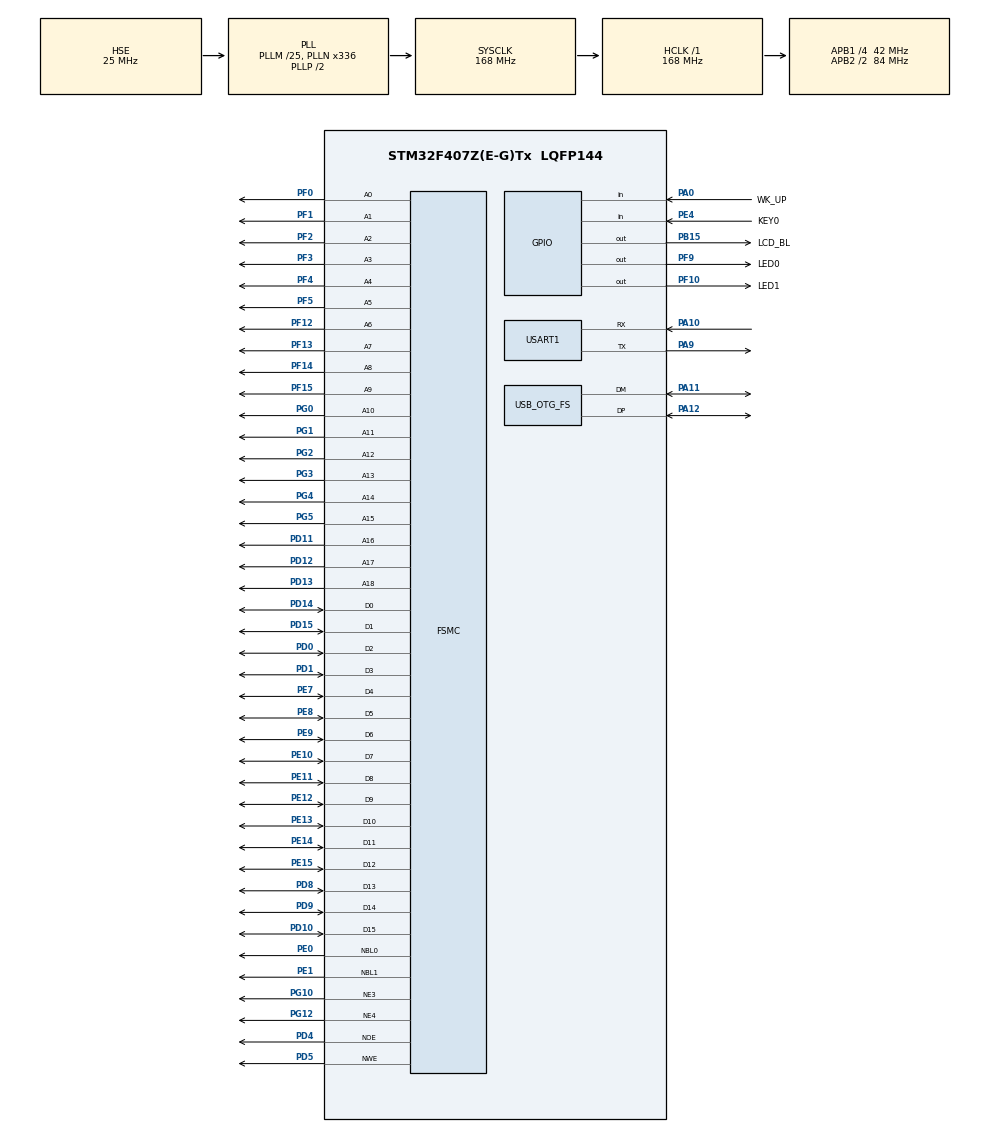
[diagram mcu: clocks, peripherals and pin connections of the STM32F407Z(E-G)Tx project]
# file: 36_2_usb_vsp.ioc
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FSMC.AddressSetupTime1=15
FSMC.AddressSetupTime2=0x02
FSMC.BusTurnAroundDuration1=0
FSMC.DataSetupTime1=60
FSMC.DataSetupTime2=0x08
FSMC.ExtendedAddressSetupTime1=9
FSMC.ExtendedBusTurnAroundDuration1=0
FSMC.ExtendedDataSetupTime1=9
FSMC.ExtendedMode1=FSMC_EXTENDED_MODE_ENABLE
FSMC.WriteOperation2=FSMC_WRITE_OPERATION_ENABLE
Mcu.Family=STM32F4
Mcu.Name=STM32F407Z(E-G)Tx
Mcu.Package=LQFP144
NVIC.OTG_FS_IRQn=true\:2\:1\:true\:false\:true\:false\:true\:true
NVIC.PriorityGroup=NVIC_PRIORITYGROUP_2
NVIC.USART1_IRQn=true\:2\:2\:true\:false\:true\:true\:true\:true
PA0-WKUP.GPIO_Label=WK_UP
PA0-WKUP.GPIO_PuPd=GPIO_PULLDOWN
PA0-WKUP.Signal=GPIO_Input
PA10.GPIO_PuPd=GPIO_PULLUP
PA10.Mode=Asynchronous
PA10.Signal=USART1_RX
PA11.Mode=Device_Only
PA11.Signal=USB_OTG_FS_DM
PA12.Mode=Device_Only
PA12.Signal=USB_OTG_FS_DP
PA13.Mode=Serial_Wire
PA13.Signal=SYS_JTMS-SWDIO
PA14.Mode=Serial_Wire
PA14.Signal=SYS_JTCK-SWCLK
PA9.GPIO_PuPd=GPIO_PULLUP
PA9.Mode=Asynchronous
PA9.Signal=USART1_TX
PB15.GPIO_Label=LCD_BL
PB15.GPIO_PuPd=GPIO_PULLUP
PB15.GPIO_Speed=GPIO_SPEED_FREQ_VERY_HIGH
PB15.PinState=GPIO_PIN_SET
PB15.Signal=GPIO_Output
PC14-OSC32_IN.Mode=LSE-External-Oscillator
PC14-OSC32_IN.Signal=RCC_OSC32_IN
PC15-OSC32_OUT.Mode=LSE-External-Oscillator
PC15-OSC32_OUT.Signal=RCC_OSC32_OUT
PD0.Signal=FSMC_D2_DA2
PD1.Signal=FSMC_D3_DA3
PD10.Signal=FSMC_D15_DA15
PD11.Signal=FSMC_A16_CLE
PD12.Signal=FSMC_A17_ALE
PD13.Signal=FSMC_A18
PD14.Signal=FSMC_D0_DA0
PD15.Signal=FSMC_D1_DA1
PD4.Signal=FSMC_NOE
PD5.Signal=FSMC_NWE
PD8.Signal=FSMC_D13_DA13
PD9.Signal=FSMC_D14_DA14
PE0.Signal=FSMC_NBL0
PE1.Signal=FSMC_NBL1
PE10.Signal=FSMC_D7_DA7
PE11.Signal=FSMC_D8_DA8
PE12.Signal=FSMC_D9_DA9
PE13.Signal=FSMC_D10_DA10
PE14.Signal=FSMC_D11_DA11
PE15.Signal=FSMC_D12_DA12
PE4.GPIO_Label=KEY0
PE4.GPIO_PuPd=GPIO_PULLDOWN
PE4.Signal=GPIO_Input
PE7.Signal=FSMC_D4_DA4
PE8.Signal=FSMC_D5_DA5
PE9.Signal=FSMC_D6_DA6
PF0.Signal=FSMC_A0
PF1.Signal=FSMC_A1
PF10.GPIO_Label=LED1
PF10.GPIO_PuPd=GPIO_PULLDOWN
PF10.GPIO_Speed=GPIO_SPEED_FREQ_VERY_HIGH
PF10.PinState=GPIO_PIN_SET
PF10.Signal=GPIO_Output
PF12.Signal=FSMC_A6
PF13.Signal=FSMC_A7
PF14.Signal=FSMC_A8
PF15.Signal=FSMC_A9
PF2.Signal=FSMC_A2
PF3.Signal=FSMC_A3
PF4.Signal=FSMC_A4
PF5.Signal=FSMC_A5
PF9.GPIO_Label=LED0
PF9.GPIO_PuPd=GPIO_PULLDOWN
PF9.GPIO_Speed=GPIO_SPEED_FREQ_VERY_HIGH
PF9.PinState=GPIO_PIN_SET
PF9.Signal=GPIO_Output
PG0.Signal=FSMC_A10
PG1.Signal=FSMC_A11
PG10.Mode=NorPsramChipSelect3_2
PG10.Signal=FSMC_NE3
PG12.Mode=NorPsramChipSelect4_1
PG12.Signal=FSMC_NE4
PG2.Signal=FSMC_A12
PG3.Signal=FSMC_A13
PG4.Signal=FSMC_A14
PG5.Signal=FSMC_A15
PH0-OSC_IN.Mode=HSE-External-Oscillator
PH0-OSC_IN.Signal=RCC_OSC_IN
PH1-OSC_OUT.Mode=HSE-External-Oscillator
PH1-OSC_OUT.Signal=RCC_OSC_OUT
ProjectManager.HeapSize=0x200
ProjectManager.StackSize=0x400
ProjectManager.TargetToolchain=STM32CubeIDE
RCC.48MHZClocksFreq_Value=48000000
RCC.AHBFreq_Value=168000000
RCC.APB1CLKDivider=RCC_HCLK_DIV4
RCC.APB1Freq_Value=42000000
RCC.APB1TimFreq_Value=84000000
RCC.APB2CLKDivider=RCC_HCLK_DIV2
RCC.APB2Freq_Value=84000000
RCC.APB2TimFreq_Value=168000000
RCC.CortexFreq_Value=168000000
RCC.HCLKFreq_Value=168000000
RCC.HSE_VALUE=25000000
RCC.HSI_VALUE=16000000
RCC.PLLM=25
RCC.PLLN=336
RCC.PLLQ=7
RCC.SYSCLKFreq_VALUE=168000000
RCC.SYSCLKSource=RCC_SYSCLKSOURCE_PLLCLK
RCC.VCOOutputFreq_Value=336000000
SH.FSMC_A0.0=FSMC_A0,19b-a2
SH.FSMC_A1.0=FSMC_A1,19b-a2
SH.FSMC_A10.0=FSMC_A10,19b-a2
SH.FSMC_A11.0=FSMC_A11,19b-a2
SH.FSMC_A12.0=FSMC_A12,19b-a2
SH.FSMC_A13.0=FSMC_A13,19b-a2
SH.FSMC_A14.0=FSMC_A14,19b-a2
SH.FSMC_A15.0=FSMC_A15,19b-a2
SH.FSMC_A16_CLE.0=FSMC_A16,19b-a2
SH.FSMC_A17_ALE.0=FSMC_A17,19b-a2
SH.FSMC_A18.0=FSMC_A18,19b-a2
SH.FSMC_A2.0=FSMC_A2,19b-a2
SH.FSMC_A3.0=FSMC_A3,19b-a2
SH.FSMC_A4.0=FSMC_A4,19b-a2
SH.FSMC_A5.0=FSMC_A5,19b-a2
SH.FSMC_A6.0=FSMC_A6,A6_1
SH.FSMC_A6.1=FSMC_A6,19b-a2
SH.FSMC_A7.0=FSMC_A7,19b-a2
SH.FSMC_A8.0=FSMC_A8,19b-a2
SH.FSMC_A9.0=FSMC_A9,19b-a2
SH.FSMC_D0_DA0.0=FSMC_D0,16b-d1
SH.FSMC_D0_DA0.1=FSMC_D0,16b-d2
SH.FSMC_D10_DA10.0=FSMC_D10,16b-d1
SH.FSMC_D10_DA10.1=FSMC_D10,16b-d2
SH.FSMC_D11_DA11.0=FSMC_D11,16b-d1
SH.FSMC_D11_DA11.1=FSMC_D11,16b-d2
SH.FSMC_D12_DA12.0=FSMC_D12,16b-d1
SH.FSMC_D12_DA12.1=FSMC_D12,16b-d2
SH.FSMC_D13_DA13.0=FSMC_D13,16b-d1
SH.FSMC_D13_DA13.1=FSMC_D13,16b-d2
SH.FSMC_D14_DA14.0=FSMC_D14,16b-d1
SH.FSMC_D14_DA14.1=FSMC_D14,16b-d2
SH.FSMC_D15_DA15.0=FSMC_D15,16b-d1
SH.FSMC_D15_DA15.1=FSMC_D15,16b-d2
SH.FSMC_D1_DA1.0=FSMC_D1,16b-d1
SH.FSMC_D1_DA1.1=FSMC_D1,16b-d2
SH.FSMC_D2_DA2.0=FSMC_D2,16b-d1
SH.FSMC_D2_DA2.1=FSMC_D2,16b-d2
SH.FSMC_D3_DA3.0=FSMC_D3,16b-d1
SH.FSMC_D3_DA3.1=FSMC_D3,16b-d2
SH.FSMC_D4_DA4.0=FSMC_D4,16b-d1
SH.FSMC_D4_DA4.1=FSMC_D4,16b-d2
SH.FSMC_D5_DA5.0=FSMC_D5,16b-d1
SH.FSMC_D5_DA5.1=FSMC_D5,16b-d2
SH.FSMC_D6_DA6.0=FSMC_D6,16b-d1
SH.FSMC_D6_DA6.1=FSMC_D6,16b-d2
SH.FSMC_D7_DA7.0=FSMC_D7,16b-d1
SH.FSMC_D7_DA7.1=FSMC_D7,16b-d2
SH.FSMC_D8_DA8.0=FSMC_D8,16b-d1
SH.FSMC_D8_DA8.1=FSMC_D8,16b-d2
SH.FSMC_D9_DA9.0=FSMC_D9,16b-d1
SH.FSMC_D9_DA9.1=FSMC_D9,16b-d2
SH.FSMC_NBL0.0=FSMC_NBL0,2ByteEnable2
SH.FSMC_NBL1.0=FSMC_NBL1,2ByteEnable2
SH.FSMC_NOE.0=FSMC_NOE,Lcd1
SH.FSMC_NOE.1=FSMC_NOE,Sram2
SH.FSMC_NWE.0=FSMC_NWE,Lcd1
SH.FSMC_NWE.1=FSMC_NWE,Sram2
USART1.VirtualMode=VM_ASYNC
USB_DEVICE.CLASS_NAME_FS=CDC
USB_DEVICE.VirtualMode-CDC_FS=Cdc
USB_DEVICE.VirtualModeFS=Cdc_FS
USB_OTG_FS.VirtualMode=Device_Only
VP_USB_DEVICE_VS_USB_DEVICE_CDC_FS.Mode=CDC_FS
board=custom

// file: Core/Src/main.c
/* USER CODE BEGIN Header */
/**
 ****************************************************************************************************
 * @file        main.c
 * @author      ALIENTEK
 * @brief       USB Virtual Serial Port code
 * @license     Copyright (C) 2020-2032, ALIENTEK
 ****************************************************************************************************
 * @attention
 *
 * platform     : ALIENTEK M144-STM32F407 board
 * website      : https://www.alientek.com
 * forum        : http://www.openedv.com/forum.php
 *
 * change logs  :
 * version    data    notes
 * V1.0     20240410  the first version
 *
 ****************************************************************************************************
 */
/* USER CODE END Header */
#include "main.h"
#include "usart.h"
#include "usb_device.h"
#include "gpio.h"
#include "fsmc.h"

/* USER CODE BEGIN Includes */
#include "../../BSP/LED/led.h"
#include "../../BSP/KEY/key.h"
#include "../../BSP/LCD/lcd.h"
#include "../../SYSTEM/delay/delay.h"
#include "../../ATK_Middlewares/MALLOC/malloc.h"
#include "usbd_core.h"
#include "usbd_desc.h"
#include "usbd_cdc.h"
#include "usb_device.h"
#include "usbd_cdc_if.h"
/* USER CODE END Includes */

/* USER CODE BEGIN PTD */

extern volatile uint8_t g_device_state;     /* USB connection condition */

/* USER CODE END PTD */

void SystemClock_Config(void);

int main(void)
{
  /* USER CODE BEGIN 1 */
	uint16_t len;
	uint16_t times = 0;
	uint8_t usbstatus =0;
  /* USER CODE END 1 */

  /* MCU Configuration--------------------------------------------------------*/

  /* Reset of all peripherals, Initializes the Flash interface and the Systick. */
  HAL_Init();

  /* Configure the system clock */
  SystemClock_Config();

  /* USER CODE BEGIN SysInit */
  delay_init(168);
  /* USER CODE END SysInit */

  /* Initialize all configured peripherals */
  MX_GPIO_Init();
  MX_USART1_UART_Init();
  MX_FSMC_Init();
  MX_USB_DEVICE_Init();
  /* USER CODE BEGIN 2 */

  lcd_init();
  my_mem_init(SRAMIN);                /* Initialize the internal SRAM memory pool */
  lcd_show_string(30, 50, 200, 16, 16, "STM32", RED);
  lcd_show_string(30, 70, 200, 16, 16, "USB_VSP TEST", RED);
  lcd_show_string(30, 90, 200, 16, 16, "ATOM@ALIENTEK", RED);

  lcd_show_string(30, 110, 200, 16, 16, "USB Connecting...", RED); /* Prompts USB to start connecting */

  //USBD_Init(&hUsbDeviceFS, &FS_Desc, 0);
  //USBD_RegisterClass(&hUsbDeviceFS, USBD_CDC_CLASS);
  //USBD_CDC_RegisterInterface(&hUsbDeviceFS, &USBD_Interface_fops_FS);
  //USBD_Start(&hUsbDeviceFS);

  //HAL_Delay(1000);

  /* USER CODE END 2 */

  /* Infinite loop */
  while (1)
  {
	  if (usbstatus != g_device_state)   /* The USB connection state has changed */
	  {
	  	  usbstatus = g_device_state;    /* Logging new status */

	  	  if (usbstatus == 1)
	  	  {
	  		  lcd_show_string(30, 110, 200, 16, 16, "USB Connected    ", RED); /* USB connection is successful */
	  		  LED1(0);    /* LED1 flashes */
	  	  }
	  	  else
	  	  {
	  		  lcd_show_string(30, 110, 200, 16, 16, "USB disConnected ", RED); /* USB disconnection is prompted */
	  		  LED1(1);    /* turn off LED1 */
	  	  }
	  }

	  if (g_usb_usart_rx_sta & 0x8000)
	  {
	  	  len = g_usb_usart_rx_sta & 0x3FFF;  /* Get the length of the received data */
	  	  usb_printf("\r\nThe length of the message you send is:%d\r\n\r\n", len);
	  	  cdc_vcp_data_tx(g_usb_usart_rx_buffer, len);;
	  	  usb_printf("\r\n\r\n");            /* Inserting line breaks */
	  	  g_usb_usart_rx_sta = 0;
	  }
	  else
	  {
	  	  times++;

	  	  if (times % 5000 == 0)
	  	  {
	  		  usb_printf("\r\nUSB Virtual USART TEST\r\n");
	  		  usb_printf("ALIENTEK@ALIENTEK\r\n\r\n");
	  	  }

	  	  if (times % 200 == 0)usb_printf("Please enter data and end with the ENTER key\r\n");

	  	  if (times % 30 == 0)
	  	  {
	  		  LED0_TOGGLE();  /* LED0 blinks to indicate that the code is running */
	  	  }

	  	  HAL_Delay(10);       /* delay 10ms */
	  }
  }
}

void SystemClock_Config(void)
{
  RCC_OscInitTypeDef RCC_OscInitStruct = {0};
  RCC_ClkInitTypeDef RCC_ClkInitStruct = {0};

  /** Configure the main internal regulator output voltage
  */
  __HAL_RCC_PWR_CLK_ENABLE();
  __HAL_PWR_VOLTAGESCALING_CONFIG(PWR_REGULATOR_VOLTAGE_SCALE1);

  /** Initializes the RCC Oscillators according to the specified parameters
  * in the RCC_OscInitTypeDef structure.
  */
  RCC_OscInitStruct.OscillatorType = RCC_OSCILLATORTYPE_HSE;
  RCC_OscInitStruct.HSEState = RCC_HSE_ON;
  RCC_OscInitStruct.PLL.PLLState = RCC_PLL_ON;
  RCC_OscInitStruct.PLL.PLLSource = RCC_PLLSOURCE_HSE;
  RCC_OscInitStruct.PLL.PLLM = 25;
  RCC_OscInitStruct.PLL.PLLN = 336;
  RCC_OscInitStruct.PLL.PLLP = RCC_PLLP_DIV2;
  RCC_OscInitStruct.PLL.PLLQ = 7;
  if (HAL_RCC_OscConfig(&RCC_OscInitStruct) != HAL_OK)
  {
    Error_Handler();
  }

  /** Initializes the CPU, AHB and APB buses clocks
  */
  RCC_ClkInitStruct.ClockType = RCC_CLOCKTYPE_HCLK|RCC_CLOCKTYPE_SYSCLK
                              |RCC_CLOCKTYPE_PCLK1|RCC_CLOCKTYPE_PCLK2;
  RCC_ClkInitStruct.SYSCLKSource = RCC_SYSCLKSOURCE_PLLCLK;
  RCC_ClkInitStruct.AHBCLKDivider = RCC_SYSCLK_DIV1;
  RCC_ClkInitStruct.APB1CLKDivider = RCC_HCLK_DIV4;
  RCC_ClkInitStruct.APB2CLKDivider = RCC_HCLK_DIV2;

  if (HAL_RCC_ClockConfig(&RCC_ClkInitStruct, FLASH_LATENCY_5) != HAL_OK)
  {
    Error_Handler();
  }
}

void Error_Handler(void)
{
  __disable_irq();
  while (1)
  {
  }
}
